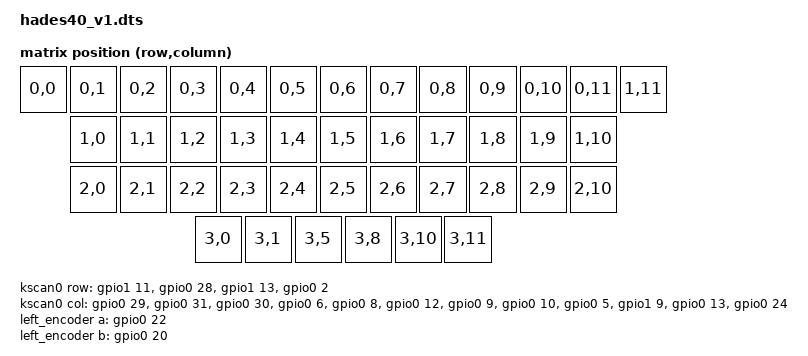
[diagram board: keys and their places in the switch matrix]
/*
* Copyright (c) 2021 The ZMK Contributors
*
* SPDX-License-Identifier: MIT
*/

/dts-v1/;
#include "hades40.dtsi"


/ {
	chosen {
		zmk,kscan = &kscan0;
		zmk,matrix_transform = &default_transform;
		zmk,underglow = &led_strip;
	};

	sensors {
		compatible = "zmk,keymap-sensors";
		sensors = <&left_encoder>;
	};

	
	default_transform: keymap_transform_0 {
		compatible = "zmk,matrix-transform";
		columns = <12>;
		rows = <4>;
        map = <
            RC(0,0) RC(0,1) RC(0,2) RC(0,3) RC(0,4) RC(0,5) RC(0,6) RC(0,7) RC(0,8) RC(0,9) RC(0,10) RC(0,11)  RC(1,11)
            RC(1,0)  RC(1,1) RC(1,2) RC(1,3) RC(1,4) RC(1,5) RC(1,6) RC(1,7) RC(1,8) RC(1,9)     RC(1,10)
            RC(2,0)   RC(2,1) RC(2,2) RC(2,3) RC(2,4) RC(2,5) RC(2,6) RC(2,7) RC(2,8) RC(2,9)        RC(2,10)
                    RC(3,0)   RC(3,1)                      RC(3,5)                           RC(3,8) RC(3,10) RC(3,11)
        >;
	};


	kscan0: kscan_0 {
		compatible = "zmk,kscan-gpio-matrix";
		label = "KSCAN";
		diode-direction = "col2row";

		col-gpios
			= <&gpio0 29 GPIO_ACTIVE_HIGH> // col 0
			, <&gpio0 31 GPIO_ACTIVE_HIGH> // col 1
			, <&gpio0 30 GPIO_ACTIVE_HIGH> // col 2
			, <&gpio0 6 GPIO_ACTIVE_HIGH> // col 3
			, <&gpio0 8 GPIO_ACTIVE_HIGH> // col 4
			, <&gpio0 12 GPIO_ACTIVE_HIGH> // col 5
			, <&gpio0 9 GPIO_ACTIVE_HIGH> // col 6
			, <&gpio0 10 GPIO_ACTIVE_HIGH> // col 7
			, <&gpio0 5 GPIO_ACTIVE_HIGH> // col 8
			, <&gpio1 9 GPIO_ACTIVE_HIGH> // col 9
			, <&gpio0 13 GPIO_ACTIVE_HIGH> // col 10
			, <&gpio0 24 GPIO_ACTIVE_HIGH> // col 11
			;

		row-gpios
			= <&gpio1 11 (GPIO_ACTIVE_HIGH | GPIO_PULL_DOWN)> // row 0
			, <&gpio0 28 (GPIO_ACTIVE_HIGH | GPIO_PULL_DOWN)> // row 1
			, <&gpio1 13 (GPIO_ACTIVE_HIGH | GPIO_PULL_DOWN)> // row 2
			, <&gpio0 2 (GPIO_ACTIVE_HIGH | GPIO_PULL_DOWN)> // row 3
			;
	};

	leds {
		compatible = "gpio-leds";
		blue_led: led_0 {
			gpios = <&gpio1 10 GPIO_ACTIVE_HIGH>;
			label = "Blue LED";
		};
	};

    left_encoder: encoder_left {
        compatible = "alps,ec11";
        label = "LEFT_ENCODER";
        a-gpios = <&gpio0 22 (GPIO_ACTIVE_HIGH | GPIO_PULL_UP)>;
		b-gpios = <&gpio0 20 (GPIO_ACTIVE_HIGH | GPIO_PULL_UP)>;
        resolution = <4>;
		status = "okay";
    };

	vbatt {
		compatible = "zmk,battery-voltage-divider";
		label = "BATTERY";
		io-channels = <&adc 2>;
		output-ohms = <2000000>;
		full-ohms = <(2000000 + 820000)>;
	};
};

&spi1 {
    compatible = "nordic,nrf-spim";
    status = "okay";
    // WS2812B pinout (PX.Y = 32*X+Y)
    mosi-pin = <3>;
    // Unused pins, needed for SPI definition, but not used by the ws2812 driver itself.
    sck-pin = <36>;
    miso-pin = <38>;

    led_strip: ws2812@0 {
        compatible = "worldsemi,ws2812-spi";
        label = "WS2812";

        /* SPI */
        reg = <0>; /* ignored, but necessary for SPI bindings */
        spi-max-frequency = <4000000>;

        /* WS2812 */
        chain-length = <12>; /* number of LEDs */
        spi-one-frame = <0x70>;
        spi-zero-frame = <0x40>;
    };
};

 &i2c0 {
 	sda-pin = <15>;
	scl-pin = <17>;

 	oled: ssd1306@3c {
 		compatible = "solomon,ssd1306fb";
 		reg = <0x3c>;
 		label = "DISPLAY";
 		width = <128>;
 		height = <32>;
 		segment-offset = <0>;
 		page-offset = <0>;
 		display-offset = <0>;
 		multiplex-ratio = <31>;
 		segment-remap;
 		com-invdir;
 		com-sequential;
 		prechargep = <0x22>;
 	};
 };
